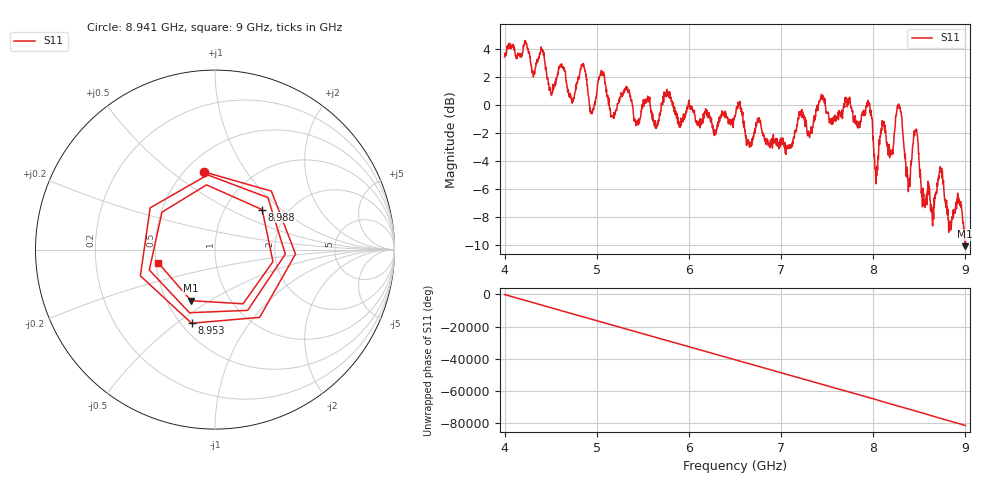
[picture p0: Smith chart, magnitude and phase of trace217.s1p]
! Created with skrf 1.8.0 (http://scikit-rf.org).
# Hz S RI R 50.0
!freq ReS11 ImS11
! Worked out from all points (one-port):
!   1601 points, 4 GHz to 9 GHz, reference 50 ohm
!   lowest |S11| = -10.1 dB at 8.997 GHz (marker M1), VSWR 1.92, Z = 33 - j20.8 ohm
!   |S11| at or under -10 dB: 8.996778 GHz to 8.997503 GHz (725.2 kHz wide, 0.00806 % of centre)
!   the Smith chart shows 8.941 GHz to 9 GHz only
!   S11 on the Smith chart (normalised r, x): 8.941 GHz: 0.61, +0.66; 8.953 GHz: 0.56, -0.57; 8.988 GHz: 1.49, +0.75; 9 GHz: 0.51, -0.08
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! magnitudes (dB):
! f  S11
! 4 GHz  3.4
! 4.406 GHz  4.0
! 4.509 GHz  0.7
! 4.625 GHz  2.6
! 4.731 GHz  0.1
! 4.856 GHz  2.9
! 4.944 GHz  -0.6
! 5.053 GHz  2.3
! 5.162 GHz  -0.8
! 5.25 GHz  0.5
! 5.875 GHz  -1.0
! 6.5 GHz  -0.8
! 7.125 GHz  -2.6
! 7.434 GHz  0.5
! 7.75 GHz  0.2
! 7.956 GHz  0.1
! 8.034 GHz  -4.8
! 8.284 GHz  0.0
! 8.375 GHz  -5.4
! 8.462 GHz  -1.8
! 8.55 GHz  -7.1
! 8.728 GHz  -4.7
! 8.831 GHz  -8.7
! 8.941 GHz  -7.2
! 8.953 GHz  -7.3
! 8.988 GHz  -9.3
! 8.997 GHz  -10.1
! 9 GHz  -9.7
